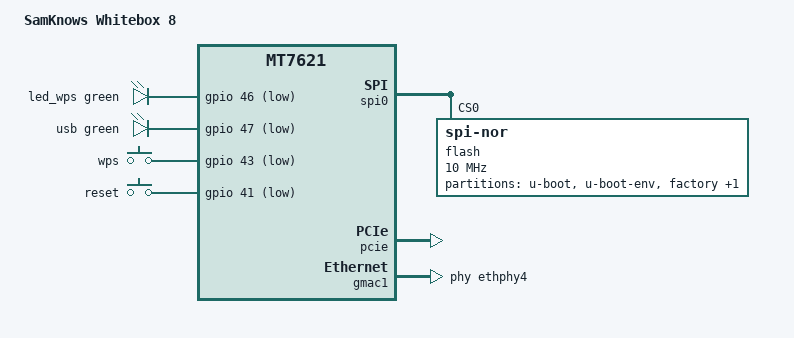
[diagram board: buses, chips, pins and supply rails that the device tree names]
#include "mt7621.dtsi"

#include <dt-bindings/input/input.h>
#include <dt-bindings/leds/common.h>
#include <dt-bindings/gpio/gpio.h>

/ {
	compatible = "samknows,whitebox-v8", "mediatek,mt7621-soc";
	model = "SamKnows Whitebox 8";

	aliases {
		led-boot = &led_wps;
		led-failsafe = &led_wps;
		led-running = &led_wps;
		led-upgrade = &led_wps;
	};

	leds {
		compatible = "gpio-leds";

		led_wps: wps {
			function = LED_FUNCTION_WPS;
			color = <LED_COLOR_ID_GREEN>;
			gpios = <&gpio 46 GPIO_ACTIVE_LOW>;
		};

		usb {
			function = LED_FUNCTION_USB;
			color = <LED_COLOR_ID_GREEN>;
			gpios = <&gpio 47 GPIO_ACTIVE_LOW>;
			trigger-sources = <&xhci_ehci_port1>, <&ehci_port2>;
			linux,default-trigger = "usbport";
		};
	};

	keys {
		compatible = "gpio-keys";

		wps {
			label = "wps";
			gpios = <&gpio 43 GPIO_ACTIVE_LOW>;
			linux,code = <KEY_WPS_BUTTON>;
		};

		reset {
			label = "reset";
			gpios = <&gpio 41 GPIO_ACTIVE_LOW>;
			linux,code = <KEY_RESTART>;
		};
	};
};

&spi0 {
	status = "okay";

	flash@0 {
		compatible = "jedec,spi-nor";
		reg = <0>;
		spi-max-frequency = <10000000>;

		partitions {
			compatible = "fixed-partitions";
			#address-cells = <1>;
			#size-cells = <1>;

			partition@0 {
				label = "u-boot";
				reg = <0x0 0x30000>;
				read-only;
			};

			partition@30000 {
				label = "u-boot-env";
				reg = <0x30000 0x10000>;
			};

			partition@40000 {
				label = "factory";
				reg = <0x40000 0x10000>;
				read-only;

				nvmem-layout {
					compatible = "fixed-layout";
					#address-cells = <1>;
					#size-cells = <1>;

					eeprom_factory_0: eeprom@0 {
						reg = <0x0 0x400>;
					};

					eeprom_factory_8000: eeprom@8000 {
						reg = <0x8000 0x200>;
					};

					macaddr_factory_e000: macaddr@e000 {
						reg = <0xe000 0x6>;
					};

					macaddr_factory_e006: macaddr@e006 {
						reg = <0xe006 0x6>;
					};
				};
			};

			partition@50000 {
				compatible = "denx,uimage";
				label = "firmware";
				reg = <0x50000 0xfb0000>;
			};
		};
	};
};

&pcie {
	status = "okay";
};

&pcie0 {
	mt76@0,0 {
		reg = <0x0000 0 0 0 0>;
		nvmem-cells = <&eeprom_factory_8000>;
		nvmem-cell-names = "eeprom";
		ieee80211-freq-limit = <5000000 6000000>;
	};
};

&pcie1 {
	mt76@0,0 {
		reg = <0x0000 0 0 0 0>;
		nvmem-cells = <&eeprom_factory_0>;
		nvmem-cell-names = "eeprom";
		ieee80211-freq-limit = <2400000 2500000>;
	};
};

&gmac0 {
	nvmem-cells = <&macaddr_factory_e000>;
	nvmem-cell-names = "mac-address";
};

&gmac1 {
	status = "okay";
	label = "wan";
	phy-handle = <&ethphy4>;

	nvmem-cells = <&macaddr_factory_e006>;
	nvmem-cell-names = "mac-address";
};

&ethphy4 {
	/delete-property/ interrupts;
};

&switch0 {
	ports {
		port@0 {
			status = "okay";
			label = "lan1";
		};

		port@1 {
			status = "okay";
			label = "lan2";
		};

		port@2 {
			status = "okay";
			label = "lan3";
		};

		port@3 {
			status = "okay";
			label = "lan4";
		};
	};
};

&state_default {
	gpio {
		groups = "sdhci";
		function = "gpio";
	};
};
